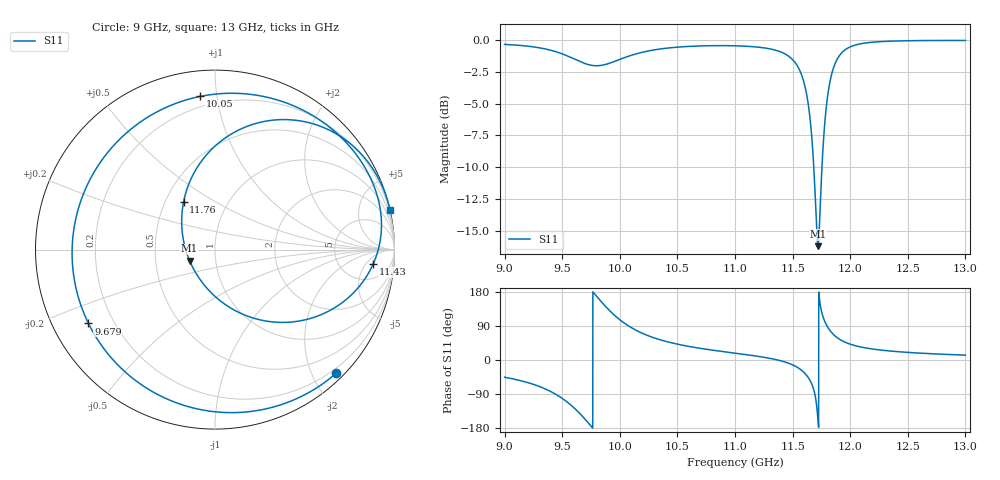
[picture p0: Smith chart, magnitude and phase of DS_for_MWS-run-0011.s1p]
! TOUCHSTONE file generated by CST DESIGN STUDIO
! Date and time: Tue Jan 28 13:35:17 2025
! Project name: C:\Work\MatlabApps\UnitCellOptimizationMatlabNew\CST\unitcell.cst
! Tree item: Tasks\Sweep1\SPara1\S-Parameters
! Header version: 2024
! Port assignment regex: !\s*Touchstone port\s*([0-9]+)\s*=\s*(CST MWS port|CST DES external port|CST DES block port)\s*(.+)\s* \(\"(.*)\"\)(\s*mode\s*([0-9]+))?.*
! Touchstone port assignment:
! Touchstone port 1 = CST DES external port 1 ("")
# GHz S MA R 50
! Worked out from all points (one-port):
!   4001 points, 9 GHz to 13 GHz, reference 50 ohm
!   lowest |S11| = -16.2 dB at 11.72 GHz (marker M1), VSWR 1.36, Z = 37.4 - j4.7 ohm
!   |S11| at or under -10 dB: 11.68 GHz to 11.75 GHz (70.92 MHz wide, 0.605 % of centre)
!   S11 on the Smith chart (normalised r, x): 9 GHz: 0.12, -2.38; 9.679 GHz: 0.11, -0.27; 10.05 GHz: 0.14, +0.90; 11.43 GHz: 11, -8; 11.76 GHz: 0.62, +0.37; 13 GHz: 0.03, +8.91
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9  0.9645 -45.5
9.275  0.9393 -66.9
9.5  0.885 -101.2
9.591  0.8503 -123.1
9.679  0.8164 -149.8
9.749  0.7983 -174.0
9.816  0.7949 162.0
9.909  0.8123 131.1
10  0.8417 106.2
10.048  0.8576 95.5
10.252  0.9096 63.4
10.5  0.9406 41.8
11  0.9522 18.0
11.433  0.8851 -5.2
11.5  0.8399 -12.8
11.579  0.729 -27.4
11.644  0.5261 -50.2
11.682  0.3272 -76.6
11.72  0.1543 -156.6
11.734  0.1907 159.3
11.755  0.3177 123.5
11.797  0.5694 90.8
11.841  0.7417 71.7
11.913  0.8789 53.6
12  0.9429 41.7
12.182  0.9828 29.5
12.5  0.997 20.1
13  0.9992 12.8
